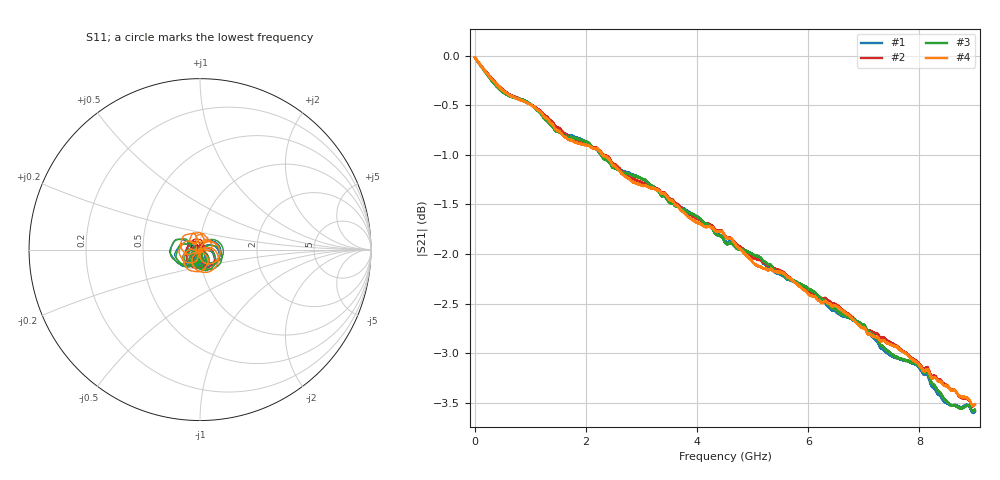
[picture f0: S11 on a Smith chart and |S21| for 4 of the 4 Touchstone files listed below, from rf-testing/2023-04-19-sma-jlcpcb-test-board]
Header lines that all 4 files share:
!Agilent Technologies,E8803A,US42160105,A.06.04.32
!Agilent E8803A: A.06.04.32
!Correction: S11(Full 2 Port(1,2)) S21(Full 2 Port(1,2)) S12(Full 2 Port(1,2)) S22(Full 2 Port(1,2))
!S2P File: Measurements: S11, S21, S12, S22:
# Hz S  dB  R 50
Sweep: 300 kHz to 9 GHz
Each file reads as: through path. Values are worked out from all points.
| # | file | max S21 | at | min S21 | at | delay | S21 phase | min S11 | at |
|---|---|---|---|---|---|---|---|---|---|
| 1 | brd1_cutout.s2p | -0.02 dB | 300 kHz | -3.6 dB | 8.969 GHz | 560 ps | 170 deg at 4.5 GHz | -55.4 dB | 300 kHz |
| 2 | brd1_cutout_bgnd.s2p | -0.02 dB | 300 kHz | -3.5 dB | 8.954 GHz | 560 ps | 170 deg at 4.5 GHz | -56.7 dB | 3.325 GHz |
| 3 | brd2_cutout.s2p | -0.02 dB | 300 kHz | -3.6 dB | 8.961 GHz | 557 ps | 175 deg at 4.5 GHz | -55.3 dB | 300 kHz |
| 4 | brd2_cutout_bgnd.s2p | -0.02 dB | 300 kHz | -3.5 dB | 8.973 GHz | 558 ps | 174 deg at 4.5 GHz | -55.3 dB | 300 kHz |
